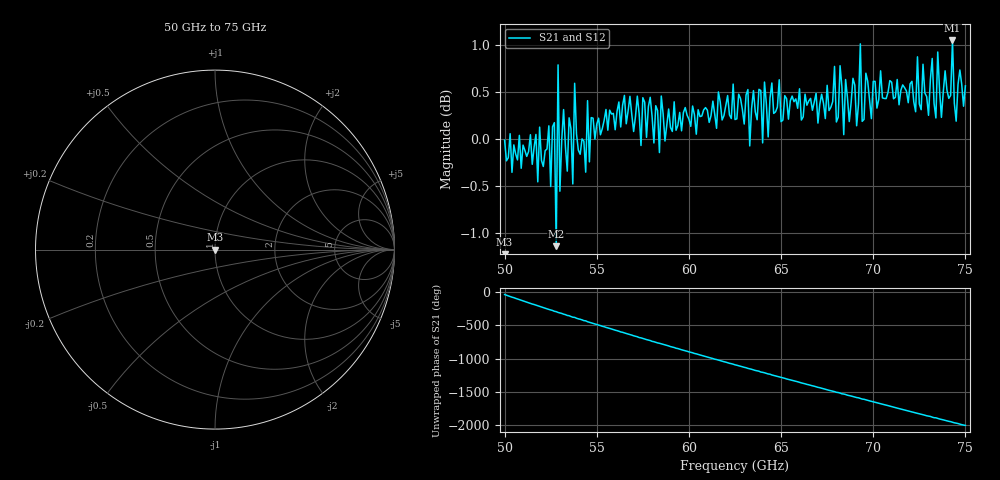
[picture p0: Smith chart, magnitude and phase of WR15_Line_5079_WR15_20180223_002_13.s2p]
# GHZ S RI R 50
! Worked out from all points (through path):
!   251 points, 50 GHz to 75 GHz, reference 50 ohm
!   highest |S21| = 1.05 dB at 74.3 GHz (marker M1); lowest = -1.1 dB at 52.8 GHz (marker M2)
!   lowest |S11| = - dB at 50 GHz (marker M3), VSWR 1.00, Z = 50 - j7.96e-16 ohm
!   |S11| at or under -10 dB: start of sweep to end of sweep
!   |S22| runs from - to - dB; largest |S21 - S12| = 1e-14
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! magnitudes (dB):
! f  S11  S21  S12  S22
! 50 GHz  -  0.0  0.0  -
! 52.4 GHz  -  0.1  0.1  -
! 52.5 GHz  -  -0.5  -0.5  -
! 52.7 GHz  -  0.2  0.2  -
! 52.8 GHz  -  -1.1  -1.1  -
! 52.9 GHz  -  0.8  0.8  -
! 53 GHz  -  -0.6  -0.6  -
! 53.2 GHz  -  0.3  0.3  -
! 53.7 GHz  -  -0.5  -0.5  -
! 53.8 GHz  -  0.6  0.6  -
! 54.2 GHz  -  0.0  0.0  -
! 58.4 GHz  -  -0.1  -0.1  -
! 62.5 GHz  -  0.2  0.2  -
! 66.7 GHz  -  0.3  0.3  -
! 70.9 GHz  -  0.6  0.6  -
! 73.2 GHz  -  0.9  0.9  -
! 73.4 GHz  -  0.2  0.2  -
! 73.5 GHz  -  0.9  0.9  -
! 73.7 GHz  -  0.2  0.2  -
! 74.3 GHz  -  1.0  1.0  -
! 74.5 GHz  -  0.2  0.2  -
! 75 GHz  -  0.6  0.6  -
